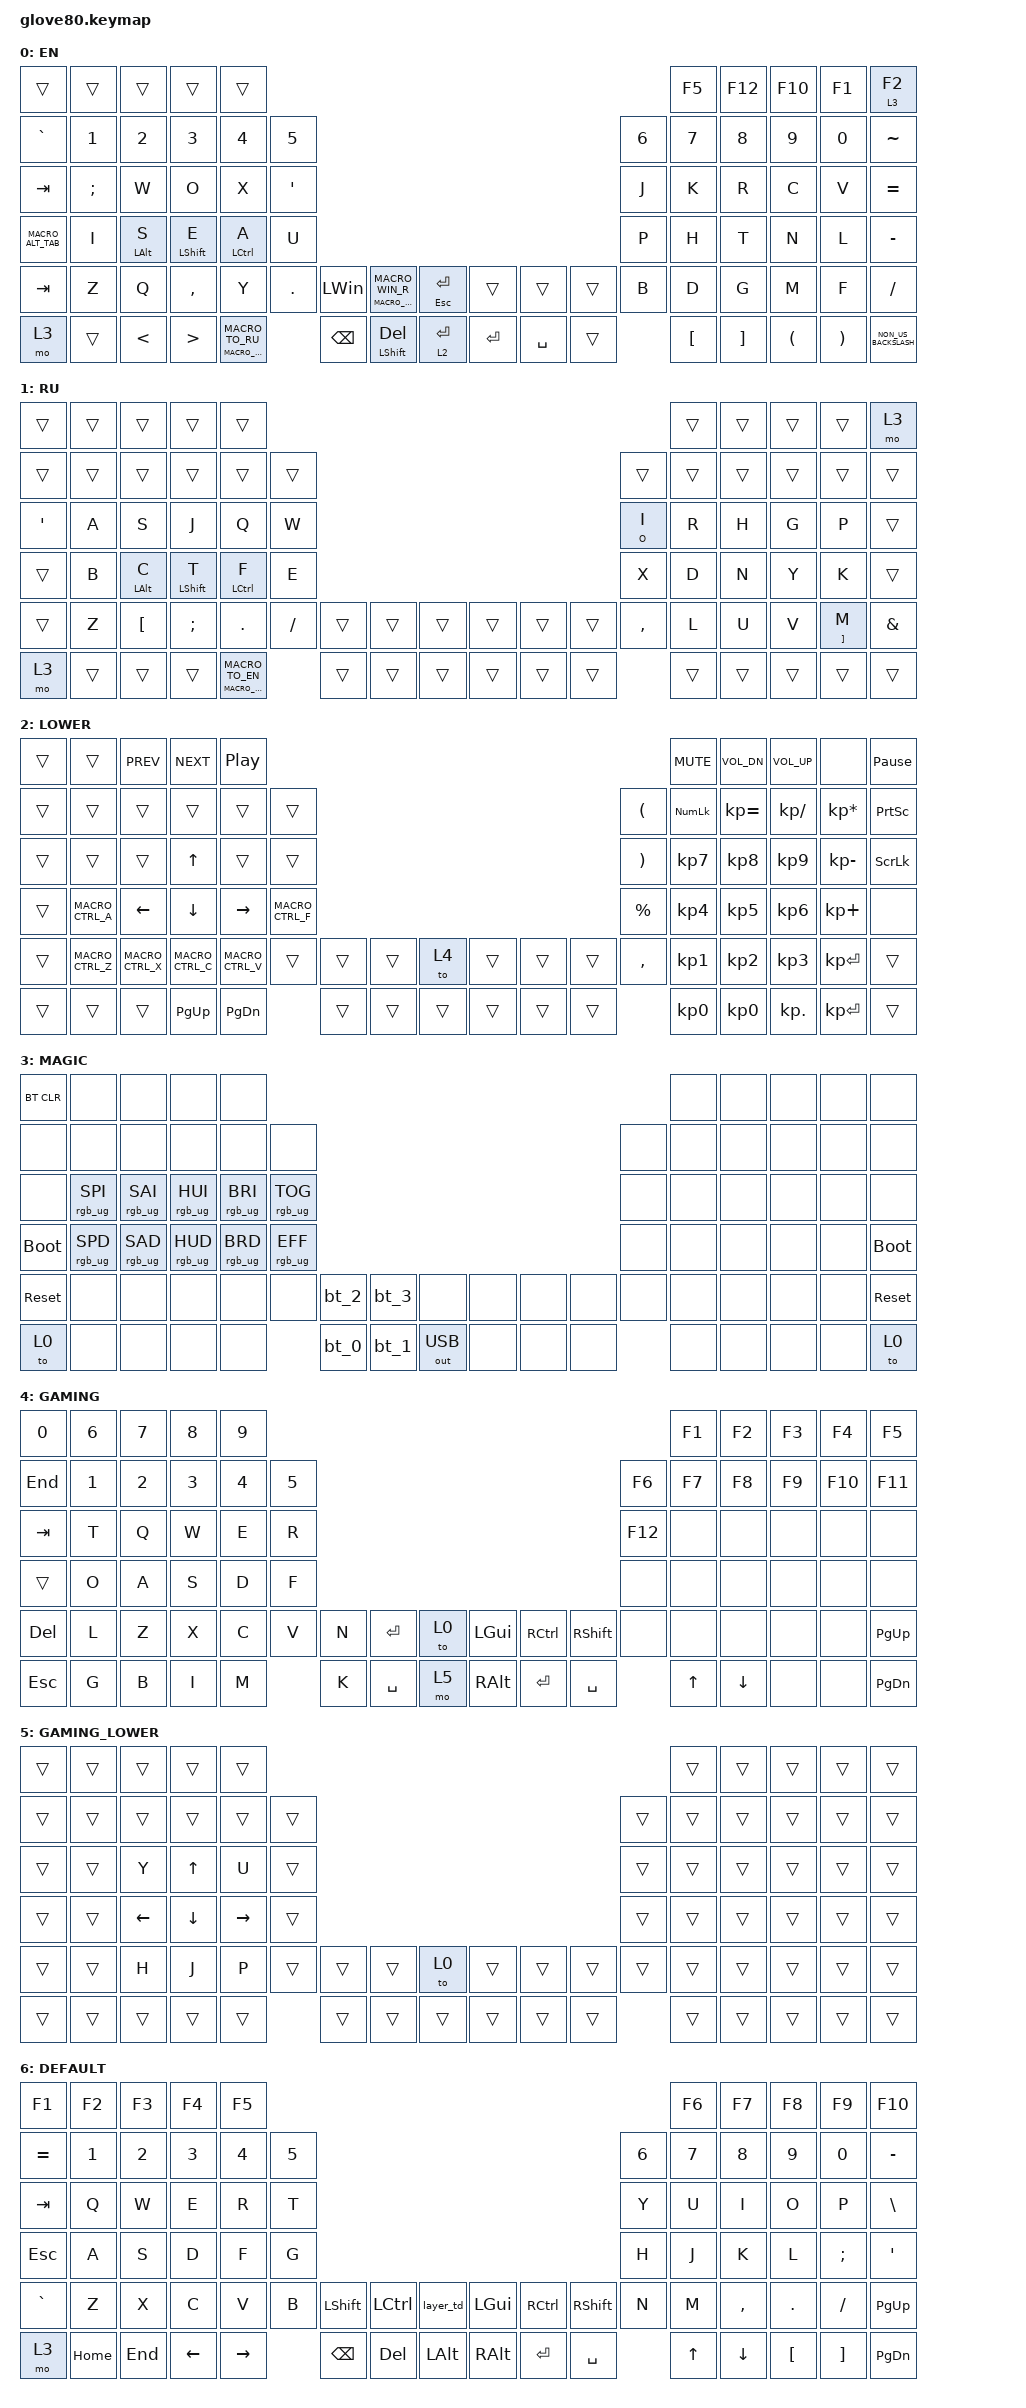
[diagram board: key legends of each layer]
/*
 * Copyright (c) 2020 The ZMK Contributors
 *
 * SPDX-License-Identifier: MIT
 */

#include <behaviors.dtsi>
#include <dt-bindings/zmk/bt.h>
#include <dt-bindings/zmk/keys.h>
#include <dt-bindings/zmk/outputs.h>
#include <dt-bindings/zmk/rgb.h>

// layers

#define DEFAULT 0
#define LOWER 1
#define MAGIC 2

/ {
    behaviors {
        // For the "layer" key, it'd nice to be able to use it as either a shift or a toggle.
        // Configure it as a tap dance, so the first tap (or hold) is a &mo and the second tap is a &to

        layer_td: tap_dance_0 {
            compatible = "zmk,behavior-tap-dance";
            #binding-cells = <0>;
            tapping-term-ms = <250>;
            bindings = <&mo 3>, <&to 3>;
        };

        BEH_TO_RU: BEH_TO_RU {
            compatible = "zmk,behavior-hold-tap";
            label = "BEH_TO_RU";
            bindings = <&MACRO_ALT_SHIFT>, <&MACRO_TO_RU>;

            #binding-cells = <2>;
            tapping-term-ms = <130>;
            flavor = "tap-preferred";
        };

        BEH_TO_EN: BEH_TO_EN {
            compatible = "zmk,behavior-hold-tap";
            label = "BEH_TO_EN";
            bindings = <&MACRO_ALT_SHIFT>, <&MACRO_TO_EN>;

            #binding-cells = <2>;
            tapping-term-ms = <130>;
            flavor = "tap-preferred";
        };

        BEH_WIN_R_D: BEH_WIN_R_D {
            compatible = "zmk,behavior-hold-tap";
            label = "BEH_WIN_R_D";
            bindings = <&MACRO_WIN_D>, <&MACRO_WIN_R>;

            #binding-cells = <2>;
            tapping-term-ms = <130>;
            flavor = "tap-preferred";
        };

        BEH_LAYER_TAP: BEH_LAYER_TAP {
            compatible = "zmk,behavior-hold-tap";
            label = "BEH_LAYER_TAP";
            bindings = <&mo>, <&kp>;

            #binding-cells = <2>;
            tapping-term-ms = <105>;
            hold-while-undecided;
            hold-while-undecided-linger;
        };

        BEH_HOLD_TAP: BEH_HOLD_TAP {
            compatible = "zmk,behavior-hold-tap";
            label = "BEH_HOLD_TAP";
            bindings = <&kp>, <&kp>;

            #binding-cells = <2>;
            tapping-term-ms = <200>;
            flavor = "tap-preferred";
        };
    };

    macros {
        bt_0: bt_profile_macro_0 {
            compatible = "zmk,behavior-macro";
            #binding-cells = <0>;
            bindings = <&out OUT_BLE &bt BT_SEL 0>;
        };

        bt_1: bt_profile_macro_1 {
            compatible = "zmk,behavior-macro";
            #binding-cells = <0>;
            bindings = <&out OUT_BLE &bt BT_SEL 1>;
        };

        bt_2: bt_profile_macro_2 {
            compatible = "zmk,behavior-macro";
            #binding-cells = <0>;
            bindings = <&out OUT_BLE &bt BT_SEL 2>;
        };

        bt_3: bt_profile_macro_3 {
            compatible = "zmk,behavior-macro";
            #binding-cells = <0>;
            bindings = <&out OUT_BLE &bt BT_SEL 3>;
        };

        MACRO_CTRL_C: MACRO_CTRL_C {
            compatible = "zmk,behavior-macro";
            #binding-cells = <0>;
            bindings =
                <&macro_press>,
                <&kt LCTRL>,
                <&macro_tap>,
                <&kp C>,
                <&macro_release>,
                <&kp LCTRL>;

            label = "MACRO_CTRL_C";
            wait-ms = <80>;
            tap-ms = <40>;
        };

        MACRO_CTRL_V: MACRO_CTRL_V {
            compatible = "zmk,behavior-macro";
            #binding-cells = <0>;
            bindings =
                <&macro_press>,
                <&kt LCTRL>,
                <&macro_tap>,
                <&kp V>,
                <&macro_release>,
                <&kp LCTRL>;

            label = "MACRO_CTRL_V";
            wait-ms = <80>;
            tap-ms = <40>;
        };

        MACRO_CTRL_Z: MACRO_CTRL_Z {
            compatible = "zmk,behavior-macro";
            #binding-cells = <0>;
            bindings =
                <&macro_press>,
                <&kt LCTRL>,
                <&macro_tap>,
                <&kp Z>,
                <&macro_release>,
                <&kp LCTRL>;

            label = "MACRO_CTRL_Z";
            wait-ms = <80>;
            tap-ms = <40>;
        };

        MACRO_CTRL_X: MACRO_CTRL_X {
            compatible = "zmk,behavior-macro";
            #binding-cells = <0>;
            bindings =
                <&macro_press>,
                <&kt LCTRL>,
                <&macro_tap>,
                <&kp X>,
                <&macro_release>,
                <&kp LCTRL>;

            label = "MACRO_CTRL_X";
            wait-ms = <80>;
            tap-ms = <40>;
        };

        MACRO_CTRL_A: MACRO_CTRL_A {
            compatible = "zmk,behavior-macro";
            #binding-cells = <0>;
            bindings =
                <&macro_press>,
                <&kt LCTRL>,
                <&macro_tap>,
                <&kp A>,
                <&macro_release>,
                <&kp LCTRL>;

            label = "MACRO_CTRL_A";
            wait-ms = <80>;
            tap-ms = <40>;
        };

        MACRO_CTRL_F: MACRO_CTRL_F {
            compatible = "zmk,behavior-macro";
            #binding-cells = <0>;
            bindings =
                <&macro_press>,
                <&kt LCTRL>,
                <&macro_tap>,
                <&kp F>,
                <&macro_release>,
                <&kp LCTRL>;

            label = "MACRO_CTRL_F";
            wait-ms = <80>;
            tap-ms = <40>;
        };

        MACRO_WIN_D: MACRO_CTRL_WIND {
            compatible = "zmk,behavior-macro";
            #binding-cells = <0>;
            bindings =
                <&macro_press>,
                <&kt LEFT_WIN>,
                <&macro_tap>,
                <&kp D>,
                <&macro_release>,
                <&kp LEFT_WIN>;

            label = "MACRO_CTRL_WIND";
            wait-ms = <80>;
            tap-ms = <40>;
        };

        MACRO_WIN_R: MACRO_WIN_R {
            compatible = "zmk,behavior-macro";
            #binding-cells = <0>;
            bindings =
                <&macro_press>,
                <&kt LEFT_WIN>,
                <&macro_tap>,
                <&kp R>,
                <&macro_release>,
                <&kp LEFT_WIN>;

            label = "MACRO_WIN_R";
            wait-ms = <80>;
            tap-ms = <40>;
        };

        MACRO_ALT_TAB: MACRO_ALT_TAB {
            compatible = "zmk,behavior-macro";
            #binding-cells = <0>;
            bindings =
                <&macro_press>,
                <&kt LEFT_ALT>,
                <&macro_tap>,
                <&kp TAB>,
                <&macro_release>,
                <&kp LEFT_ALT>;

            label = "MACRO_ALT_TAB";
            wait-ms = <80>;
            tap-ms = <40>;
        };

        MACRO_ALT_SHIFT: MACRO_ALT_SIHFT {
            compatible = "zmk,behavior-macro";
            #binding-cells = <0>;
            bindings = <&macro_tap>, <&kp LS(LALT)>;

            label = "MACRO_ALT_SIHFT";
            wait-ms = <70>;
            tap-ms = <70>;
        };

        MACRO_TO_RU: MACRO_TO_RU {
            compatible = "zmk,behavior-macro";
            #binding-cells = <0>;
            bindings = <&macro_tap>, <&to 1>, <&macro_tap>, <&kp LA(LSHFT)>;

            label = "MACRO_TO_RU";
            wait-ms = <20>;
            tap-ms = <10>;
        };

        MACRO_TO_EN: MACRO_TO_EN {
            compatible = "zmk,behavior-macro";
            #binding-cells = <0>;
            bindings = <&macro_tap>, <&to 0>, <&macro_tap>, <&kp LS(LALT)>;

            label = "MACRO_TO_EN";
            wait-ms = <20>;
            tap-ms = <10>;
        };

        MACRO_TO_LOWER: MACRO_TO_LOWER {
            compatible = "zmk,behavior-macro";
            #binding-cells = <0>;
            bindings = <&macro_tap>, <&to 2>;

            label = "MACRO_TO_LOWER";
            wait-ms = <20>;
            tap-ms = <10>;
        };
    };

    keymap {
        compatible = "zmk,keymap";

        EN {
            bindings = <
&trans          &trans         &trans                    &trans                 &trans                                                                                                                                    &kp F5            &kp F12            &kp F10               &kp F1                 &lt 3 F2
&kp GRAVE       &kp NUMBER_1   &kp NUMBER_2              &kp NUMBER_3           &kp NUMBER_4           &kp N5                                                                                               &kp NUMBER_6  &kp N7            &kp N8             &kp N9                &kp N0                 &kp TILDE
&kp TAB         &kp SEMICOLON  &kp W                     &kp O                  &kp X                  &kp SQT                                                                                              &kp J         &kp K             &kp R              &kp C                 &kp V                  &kp EQUAL
&MACRO_ALT_TAB  &kp I          &BEH_HOLD_TAP LEFT_ALT S  &BEH_HOLD_TAP LSHFT E  &BEH_HOLD_TAP LCTRL A  &kp U                                                                                                &kp P         &kp H             &kp T              &kp N                 &kp L                  &kp MINUS
&kp TAB         &kp Z          &kp Q                     &kp COMMA              &kp Y                  &kp PERIOD  &kp LEFT_WIN   &BEH_WIN_R_D 0 0  &mt ESCAPE ENTER          &trans     &trans     &trans  &kp B         &kp D             &kp G              &kp M                 &kp F                  &kp SLASH
&mo 3           &trans         &kp LESS_THAN             &kp GREATER_THAN       &BEH_TO_RU 0 0                     &kp BACKSPACE  &mt LSHFT DELETE  &BEH_LAYER_TAP 2 ENTER    &kp ENTER  &kp SPACE  &trans                &kp LEFT_BRACKET  &kp RIGHT_BRACKET  &kp LEFT_PARENTHESIS  &kp RIGHT_PARENTHESIS  &kp NON_US_BACKSLASH
            >;
        };

        RU {
            bindings = <
&trans   &trans  &trans                &trans                 &trans                                                                                         &trans  &trans  &trans  &trans               &mo 3
&trans   &trans  &trans                &trans                 &trans                 &trans                                                       &trans     &trans  &trans  &trans  &trans               &trans
&kp SQT  &kp A   &kp S                 &kp J                  &kp Q                  &kp W                                                        &mt O I    &kp R   &kp H   &kp G   &kp P                &trans
&trans   &kp B   &BEH_HOLD_TAP LALT C  &BEH_HOLD_TAP LSHFT T  &BEH_HOLD_TAP LCTRL F  &kp E                                                        &kp X      &kp D   &kp N   &kp Y   &kp K                &trans
&trans   &kp Z   &kp LEFT_BRACKET      &kp SEMICOLON          &kp PERIOD             &kp SLASH  &trans  &trans  &trans    &trans  &trans  &trans  &kp COMMA  &kp L   &kp U   &kp V   &mt RIGHT_BRACKET M  &kp AMPERSAND
&mo 3    &trans  &trans                &trans                 &BEH_TO_EN 0 0                    &trans  &trans  &trans    &trans  &trans  &trans             &trans  &trans  &trans  &trans               &trans
            >;
        };

        LOWER {
            bindings = <
&trans  &trans         &kp C_PREV     &kp C_NEXT     &kp C_PP                                                                                   &kp C_MUTE  &kp C_VOL_DN  &kp C_VOL_UP   &none            &kp PAUSE_BREAK
&trans  &trans         &trans         &trans         &trans         &trans                                                           &kp LPAR   &kp KP_NUM  &kp KP_EQUAL  &kp KP_DIVIDE  &kp KP_MULTIPLY  &kp PSCRN
&trans  &trans         &trans         &kp UP         &trans         &trans                                                           &kp RPAR   &kp KP_N7   &kp KP_N8     &kp KP_N9      &kp KP_MINUS     &kp SLCK
&trans  &MACRO_CTRL_A  &kp LEFT       &kp DOWN       &kp RIGHT      &MACRO_CTRL_F                                                    &kp PRCNT  &kp KP_N4   &kp KP_N5     &kp KP_N6      &kp KP_PLUS      &none
&trans  &MACRO_CTRL_Z  &MACRO_CTRL_X  &MACRO_CTRL_C  &MACRO_CTRL_V  &trans         &trans  &trans  &to 4     &trans  &trans  &trans  &kp COMMA  &kp KP_N1   &kp KP_N2     &kp KP_N3      &kp KP_ENTER     &trans
&trans  &trans         &trans         &kp PG_UP      &kp PAGE_DOWN                 &trans  &trans  &trans    &trans  &trans  &trans             &kp KP_N0   &kp KP_N0     &kp KP_DOT     &kp KP_ENTER     &trans
            >;
        };

        MAGIC {
            bindings = <
&bt BT_CLR   &none            &none            &none            &none                                                                                       &none  &none  &none  &none  &none
&none        &none            &none            &none            &none            &none                                                               &none  &none  &none  &none  &none  &none
&none        &rgb_ug RGB_SPI  &rgb_ug RGB_SAI  &rgb_ug RGB_HUI  &rgb_ug RGB_BRI  &rgb_ug RGB_TOG                                                     &none  &none  &none  &none  &none  &none
&bootloader  &rgb_ug RGB_SPD  &rgb_ug RGB_SAD  &rgb_ug RGB_HUD  &rgb_ug RGB_BRD  &rgb_ug RGB_EFF                                                     &none  &none  &none  &none  &none  &bootloader
&sys_reset   &none            &none            &none            &none            &none            &bt_2  &bt_3  &none           &none  &none  &none  &none  &none  &none  &none  &none  &sys_reset
&to 0        &none            &none            &none            &none                             &bt_0  &bt_1  &out OUT_USB    &none  &none  &none         &none  &none  &none  &none  &to 0
            >;
        };

        GAMING {
            bindings = <
&kp N0   &kp NUMBER_6  &kp N7  &kp N8        &kp N9                                                                                    &kp F1  &kp F2    &kp F3  &kp F4   &kp F5
&kp END  &kp NUMBER_1  &kp N2  &kp NUMBER_3  &kp NUMBER_4  &kp N5                                                             &kp F6   &kp F7  &kp F8    &kp F9  &kp F10  &kp F11
&kp TAB  &kp T         &kp Q   &kp W         &kp E         &kp R                                                              &kp F12  &none   &none     &none   &none    &none
&trans   &kp O         &kp A   &kp S         &kp D         &kp F                                                              &none    &none   &none     &none   &none    &none
&kp DEL  &kp L         &kp Z   &kp X         &kp C         &kp V   &kp N  &kp ENTER  &to 0    &kp LGUI  &kp RCTRL  &kp RSHFT  &none    &none   &none     &none   &none    &kp PG_UP
&kp ESC  &kp G         &kp B   &kp I         &kp M                 &kp K  &kp SPACE  &mo 5    &kp RALT  &kp RET    &kp SPACE           &kp UP  &kp DOWN  &none   &none    &kp PG_DN
            >;
        };

        GAMING_LOWER {
            bindings = <
&trans  &trans  &trans          &trans          &trans                                                                       &trans  &trans  &trans  &trans  &trans
&trans  &trans  &trans          &trans          &trans     &trans                                                    &trans  &trans  &trans  &trans  &trans  &trans
&trans  &trans  &kp Y           &kp UP_ARROW    &kp U      &trans                                                    &trans  &trans  &trans  &trans  &trans  &trans
&trans  &trans  &kp LEFT_ARROW  &kp DOWN_ARROW  &kp RIGHT  &trans                                                    &trans  &trans  &trans  &trans  &trans  &trans
&trans  &trans  &kp H           &kp J           &kp P      &trans  &trans  &trans  &to 0     &trans  &trans  &trans  &trans  &trans  &trans  &trans  &trans  &trans
&trans  &trans  &trans          &trans          &trans             &trans  &trans  &trans    &trans  &trans  &trans          &trans  &trans  &trans  &trans  &trans
            >;
        };

        DEFAULT {
            // ---------------------------------------------------------------------------------------------------------------------------------
            // |  F1   |  F2 |  F3 |  F4  |  F5  |                                                               |  F6   |  F7   |  F8  |   F9  |  F10 |
            // |  =    |  1  |  2  |  3   |  4   |  5   |                                                 |  6   |   7   |   8   |  9   |   0   |   -  |
            // |  TAB  |  Q  |  W  |  E   |  R   |  T   |                                                 |  Y   |   U   |   I   |  O   |   P   |   \  |
            // |  ESC  |  A  |  S  |  D   |  F   |  G   |                                                 |  H   |   J   |   K   |  L   |   ;   |   '  |
            // |   `   |  Z  |  X  |  C   |  V   |  B   | LSHFT | LCTRL | LOWER | | LGUI  | RCTRL | RSHFT |  N   |   M   |   ,   |  .   |   /   | PGUP |
            // | MAGIC | HOME| END | LEFT | RIGHT|      | BSPC  | DEL   | LALT  | | RALT  | RET   | SPACE |      |  UP   | DOWN  |  [   |   ]   | PGDN |

            bindings = <
&kp F1     &kp F2    &kp F3   &kp F4    &kp F5                                                                                        &kp F6  &kp F7     &kp F8    &kp F9    &kp F10
&kp EQUAL  &kp N1    &kp N2   &kp N3    &kp N4     &kp N5                                                                     &kp N6  &kp N7  &kp N8     &kp N9    &kp N0    &kp MINUS
&kp TAB    &kp Q     &kp W    &kp E     &kp R      &kp T                                                                      &kp Y   &kp U   &kp I      &kp O     &kp P     &kp BSLH
&kp ESC    &kp A     &kp S    &kp D     &kp F      &kp G                                                                      &kp H   &kp J   &kp K      &kp L     &kp SEMI  &kp SQT
&kp GRAVE  &kp Z     &kp X    &kp C     &kp V      &kp B   &kp LSHFT  &kp LCTRL  &layer_td    &kp LGUI  &kp RCTRL  &kp RSHFT  &kp N   &kp M   &kp COMMA  &kp DOT   &kp FSLH  &kp PG_UP
&mo 3      &kp HOME  &kp END  &kp LEFT  &kp RIGHT          &kp BSPC   &kp DEL    &kp LALT     &kp RALT  &kp RET    &kp SPACE          &kp UP  &kp DOWN   &kp LBKT  &kp RBKT  &kp PG_DN
            >;
        };
    };
};
